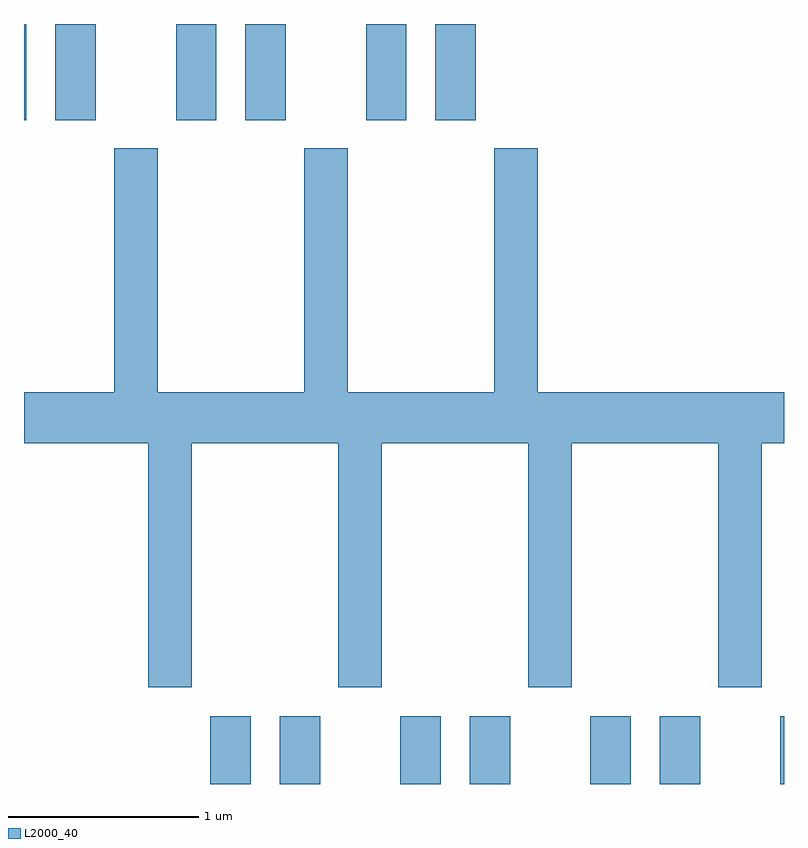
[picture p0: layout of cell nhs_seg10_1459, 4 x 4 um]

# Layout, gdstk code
import gdstk
lib = gdstk.Library(unit=1e-6, precision=1e-09)
def R(c, l, rs):  # rectangles x0, y0, x1, y1
    for r in rs: c.add(gdstk.rectangle(r[:2], r[2:], *l))
def P(c, l, *ps):  # polygons
    for p in ps: c.add(gdstk.Polygon(p, *l))
L2000_40 = (2000, 40)

nhs_seg10_1459 = lib.new_cell('nhs_seg10_1459')
R(nhs_seg10_1459, L2000_40, [(228.591,2156.522,228.804,2156.879), (228.956,2156.522,229.169,2156.879), (229.591,2156.522,229.804,2156.879), (229.956,2156.522,230.169,2156.879), (230.591,2156.522,230.804,2156.879), (230.956,2156.522,231.169,2156.879), (231.591,2156.522,231.611,2156.879), (227.611,2160.016,227.624,2160.522), (227.776,2160.016,227.989,2160.522), (228.411,2160.016,228.624,2160.522), (228.776,2160.016,228.989,2160.522), (229.411,2160.016,229.624,2160.522), (229.776,2160.016,229.989,2160.522)])
P(nhs_seg10_1459, L2000_40, [(228.494,2158.316),(229.266,2158.316),(229.266,2157.031),(229.494,2157.031),(229.494,2158.316),(230.266,2158.316),(230.266,2157.031),(230.494,2157.031),(230.494,2158.316),(231.266,2158.316),(231.266,2157.031),(231.494,2157.031),(231.494,2158.316),(231.611,2158.316),(231.611,2158.584),(230.314,2158.584),(230.314,2159.869),(230.086,2159.869),(230.086,2158.584),(229.314,2158.584),(229.314,2159.869),(229.086,2159.869),(229.086,2158.584),(228.314,2158.584),(228.314,2159.869),(228.086,2159.869),(228.086,2158.584),(227.611,2158.584),(227.611,2158.316),(228.266,2158.316),(228.266,2157.031),(228.494,2157.031)])

lib.write_gds('nhs_seg10_1459.gds')
